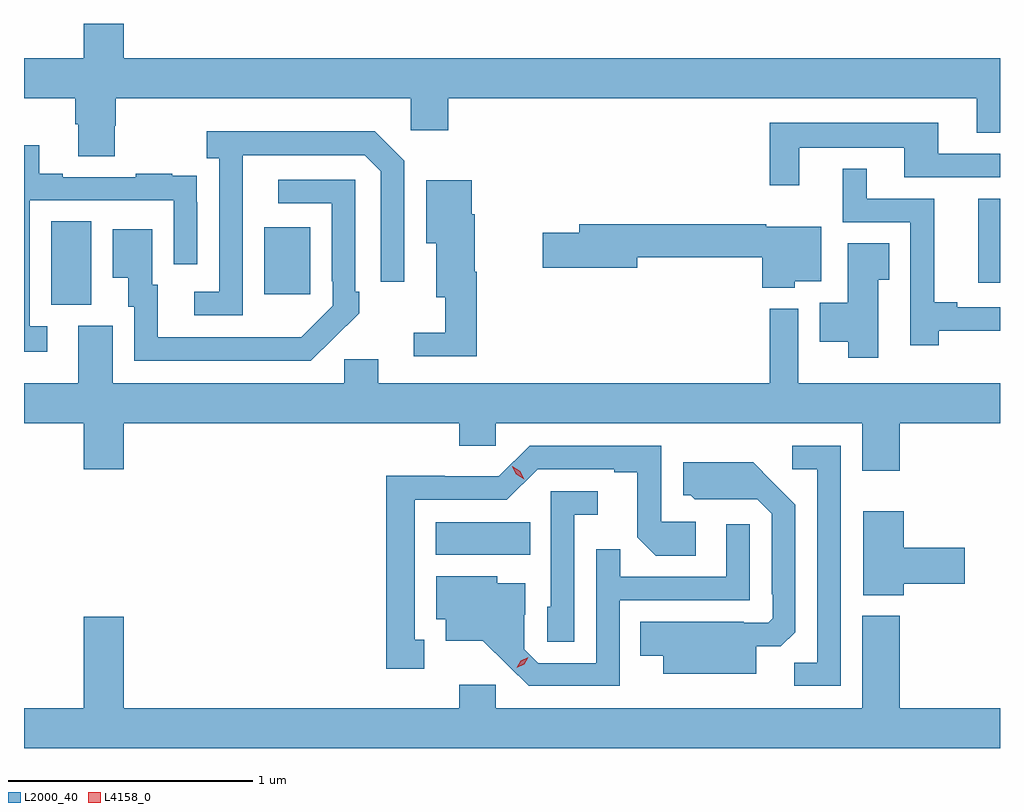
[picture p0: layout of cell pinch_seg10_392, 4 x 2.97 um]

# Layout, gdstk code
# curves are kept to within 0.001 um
import gdstk
lib = gdstk.Library(unit=1e-6, precision=1e-09)
def R(c, l, rs):  # rectangles x0, y0, x1, y1
    for r in rs: c.add(gdstk.rectangle(r[:2], r[2:], *l))
def P(c, l, *ps):  # polygons
    for p in ps: c.add(gdstk.Polygon(p, *l))
L2000_40 = (2000, 40)
L4158_0 = (4158, 0)

pinch_seg10_392 = lib.new_cell('pinch_seg10_392')
R(pinch_seg10_392, L2000_40, [(382.235,1293.116,382.622,1293.25), (380.66,1294.141,380.824,1294.484), (381.533,1294.185,381.721,1294.459), (384.458,1294.232,384.548,1294.576)])
P(pinch_seg10_392, L2000_40, [(380.919,1294.875),(380.924,1294.875),(380.924,1294.988),(382.134,1294.988),(382.134,1294.857),(382.286,1294.857),(382.286,1294.988),(384.452,1294.988),(384.452,1294.846),(384.548,1294.846),(384.548,1295.152),(380.956,1295.152),(380.956,1295.293),(380.792,1295.293),(380.792,1295.152),(380.548,1295.152),(380.548,1294.988),(380.759,1294.988),(380.759,1294.882),(380.771,1294.882),(380.771,1294.75),(380.919,1294.75)],
  [(383.725,1294.784),(384.155,1294.784),(384.155,1294.665),(384.548,1294.665),(384.548,1294.761),(384.295,1294.761),(384.295,1294.888),(383.604,1294.888),(383.604,1294.632),(383.725,1294.632)],
  [(381.444,1294.555),(381.445,1294.755),(381.945,1294.755),(382.011,1294.689),(382.011,1294.236),(382.107,1294.236),(382.107,1294.731),(381.986,1294.852),(381.297,1294.852),(381.297,1294.742),(381.348,1294.742),(381.348,1294.194),(381.246,1294.194),(381.246,1294.098),(381.444,1294.098)],
  [(380.644,1294.053),(380.571,1294.053),(380.571,1294.569),(381.162,1294.569),(381.162,1294.308),(381.258,1294.308),(381.258,1294.562),(381.257,1294.562),(381.257,1294.671),(381.155,1294.671),(381.155,1294.678),(381.007,1294.678),(381.007,1294.665),(380.707,1294.665),(380.707,1294.678),(380.611,1294.678),(380.611,1294.795),(380.548,1294.795),(380.548,1293.948),(380.644,1293.948)],
  [(384.296,1294.034),(384.548,1294.034),(384.548,1294.131),(384.373,1294.131),(384.373,1294.151),(384.278,1294.151),(384.278,1294.575),(384.001,1294.575),(384.001,1294.699),(383.903,1294.699),(383.903,1294.479),(384.18,1294.479),(384.18,1293.975),(384.296,1293.975)],
  [(381.815,1294.003),(381.816,1294.002),(381.921,1294.107),(381.921,1294.195),(381.906,1294.195),(381.906,1294.653),(381.591,1294.653),(381.591,1294.557),(381.81,1294.557),(381.81,1294.237),(381.813,1294.237),(381.813,1294.137),(381.685,1294.009),(381.097,1294.008),(381.097,1294.224),(381.073,1294.224),(381.073,1294.45),(380.912,1294.45),(380.912,1294.253),(380.975,1294.253),(380.975,1294.134),(381,1294.134),(381,1293.912),(381.724,1293.912)],
  [(382.403,1294.276),(382.396,1294.276),(382.396,1294.512),(382.384,1294.512),(382.384,1294.651),(382.196,1294.651),(382.196,1294.394),(382.238,1294.394),(382.238,1294.172),(382.275,1294.172),(382.275,1294.027),(382.146,1294.027),(382.146,1293.93),(382.403,1293.93)],
  [(383.706,1294.238),(383.815,1294.238),(383.815,1294.462),(383.589,1294.462),(383.589,1294.472),(382.823,1294.472),(382.823,1294.436),(382.674,1294.436),(382.674,1294.294),(383.062,1294.294),(383.062,1294.336),(383.573,1294.336),(383.573,1294.211),(383.706,1294.211)],
  [(384.049,1294.243),(384.095,1294.243),(384.095,1294.394),(383.924,1294.394),(383.924,1294.15),(383.81,1294.15),(383.81,1293.989),(383.927,1293.989),(383.927,1293.924),(384.049,1293.924)],
  [(384.137,1293.656),(384.548,1293.656),(384.548,1293.82),(383.721,1293.82),(383.721,1294.126),(383.605,1294.126),(383.605,1293.82),(382,1293.82),(382,1293.918),(381.861,1293.918),(381.861,1293.82),(380.911,1293.82),(380.911,1294.056),(380.771,1294.056),(380.771,1293.82),(380.548,1293.82),(380.548,1293.656),(380.792,1293.656),(380.792,1293.468),(380.956,1293.468),(380.956,1293.656),(382.331,1293.656),(382.331,1293.563),(382.482,1293.563),(382.482,1293.656),(383.984,1293.656),(383.984,1293.462),(384.137,1293.462)],
  [(383.895,1293.564),(383.697,1293.564),(383.697,1293.468),(383.799,1293.468),(383.799,1292.675),(383.704,1292.675),(383.704,1292.58),(383.895,1292.58)],
  [(382.189,1292.769),(382.15,1292.769),(382.15,1293.342),(382.527,1293.342),(382.653,1293.468),(382.967,1293.468),(382.967,1293.456),(383.061,1293.456),(383.061,1293.188),(383.137,1293.112),(383.302,1293.112),(383.302,1293.252),(383.16,1293.252),(383.16,1293.564),(382.62,1293.564),(382.494,1293.438),(382.272,1293.438),(382.272,1293.44),(382.032,1293.44),(382.032,1292.649),(382.189,1292.649)],
  [(383.548,1292.741),(383.65,1292.741),(383.709,1292.8),(383.709,1293.322),(383.537,1293.496),(383.249,1293.496),(383.249,1293.36),(383.28,1293.36),(383.296,1293.344),(383.553,1293.345),(383.613,1293.285),(383.613,1292.956),(383.616,1292.956),(383.616,1292.856),(383.598,1292.838),(383.498,1292.838),(383.498,1292.842),(383.074,1292.842),(383.074,1292.702),(383.168,1292.702),(383.168,1292.63),(383.548,1292.63)],
  [(382.803,1293.281),(382.9,1293.281),(382.9,1293.378),(382.707,1293.378),(382.707,1292.904),(382.692,1292.904),(382.692,1292.761),(382.803,1292.761)],
  [(384.154,1292.999),(384.403,1292.999),(384.403,1293.146),(384.154,1293.146),(384.154,1293.295),(383.987,1293.295),(383.987,1292.951),(384.154,1292.951)],
  [(382.989,1292.931),(383.523,1292.931),(383.523,1293.241),(383.427,1293.241),(383.427,1293.027),(382.991,1293.027),(382.991,1293.14),(382.893,1293.14),(382.893,1292.673),(382.656,1292.673),(382.599,1292.73),(382.599,1292.872),(382.603,1292.872),(382.603,1293.001),(382.488,1293.001),(382.488,1293.028),(382.238,1293.028),(382.238,1292.852),(382.277,1292.852),(382.277,1292.765),(382.429,1292.765),(382.616,1292.58),(382.989,1292.58)],
  [(384.548,1292.488),(384.137,1292.488),(384.137,1292.866),(383.984,1292.866),(383.984,1292.488),(382.482,1292.488),(382.482,1292.584),(382.331,1292.584),(382.331,1292.488),(380.956,1292.488),(380.956,1292.863),(380.792,1292.863),(380.792,1292.488),(380.548,1292.488),(380.548,1292.324),(384.548,1292.324)])
P(pinch_seg10_392, L4158_0, [(382.567,1292.653),(382.567,1292.654),(382.584,1292.682),(382.615,1292.697),(382.615,1292.697),(382.615,1292.697),(382.598,1292.668),(382.567,1292.653)],
  [(382.598,1293.426),(382.566,1293.446),(382.549,1293.478),(382.549,1293.479),(382.549,1293.479),(382.581,1293.459),(382.598,1293.427),(382.598,1293.426)])

lib.write_gds('pinch_seg10_392.gds')
